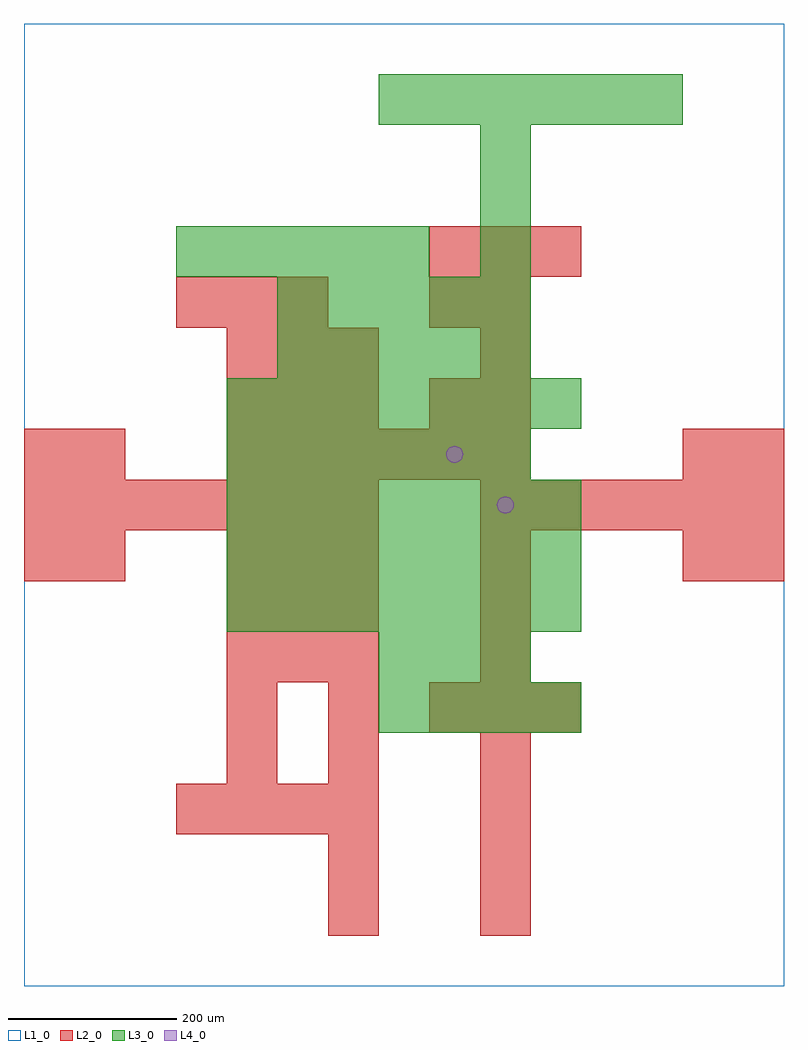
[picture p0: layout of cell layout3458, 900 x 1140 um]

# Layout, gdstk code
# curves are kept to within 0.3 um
import gdstk
lib = gdstk.Library(unit=1e-6, precision=1e-09)
def R(c, l, rs):  # rectangles x0, y0, x1, y1
    for r in rs: c.add(gdstk.rectangle(r[:2], r[2:], *l))
def A(c, l, x, y, w, h, nx, ny, dx, dy):  # array of equal rectangles
    R(c, l, [(x+i*dx, y+j*dy, x+i*dx+w, y+j*dy+h) for i in range(nx) for j in range(ny)])
def P(c, l, *ps):  # polygons
    for p in ps: c.add(gdstk.Polygon(p, *l))
L1_0 = (1, 0)
L2_0 = (2, 0)
L3_0 = (3, 0)
L4_0 = (4, 0)

layout3458 = lib.new_cell('layout3458')
R(layout3458, L1_0, [(0,0,900,1140)])
A(layout3458, L2_0, 540, 60, 60, 60, 1, 8, 0, 60)
A(layout3458, L2_0, 180, 180, 60, 60, 4, 1, 60, 0)
A(layout3458, L2_0, 240, 300, 60, 60, 3, 1, 120, 0)
A(layout3458, L2_0, 240, 360, 60, 60, 3, 3, 60, 60)
A(layout3458, L2_0, 0, 540, 60, 60, 7, 1, 60, 0)
A(layout3458, L2_0, 540, 540, 60, 60, 6, 1, 60, 0)
A(layout3458, L2_0, 240, 600, 60, 60, 6, 1, 60, 0)
A(layout3458, L2_0, 240, 660, 60, 60, 3, 2, 60, 60)
A(layout3458, L2_0, 540, 660, 60, 60, 1, 3, 0, 60)
A(layout3458, L2_0, 180, 780, 60, 60, 3, 1, 60, 0)
A(layout3458, L2_0, 480, 840, 60, 60, 3, 1, 60, 0)
R(layout3458, L2_0, [(360,60,420,120), (360,120,420,180), (240,240,300,300), (360,240,420,300), (600,300,660,360), (0,480,60,540), (60,480,120,540), (780,480,840,540), (840,480,900,540), (0,600,60,660), (60,600,120,660), (780,600,840,660), (840,600,900,660), (480,660,540,720), (480,780,540,840)])
A(layout3458, L3_0, 420, 300, 60, 60, 4, 1, 60, 0)
A(layout3458, L3_0, 420, 360, 60, 60, 3, 1, 60, 0)
A(layout3458, L3_0, 240, 420, 60, 60, 7, 3, 60, 60)
A(layout3458, L3_0, 240, 600, 60, 60, 6, 1, 60, 0)
A(layout3458, L3_0, 240, 660, 60, 60, 7, 1, 60, 0)
A(layout3458, L3_0, 300, 720, 60, 60, 5, 2, 60, 60)
A(layout3458, L3_0, 180, 840, 60, 60, 5, 1, 60, 0)
A(layout3458, L3_0, 540, 840, 60, 60, 1, 3, 0, 60)
A(layout3458, L3_0, 420, 1020, 60, 60, 6, 1, 60, 0)
P(layout3458, L4_0, [(520,630),(519.239,633.827),(517.071,637.071),(513.827,639.239),(510,640),(506.173,639.239),(502.929,637.071),(500.761,633.827),(500,630),(500.761,626.173),(502.929,622.929),(506.173,620.761),(510,620),(513.827,620.761),(517.071,622.929),(519.239,626.173)],
  [(580,570),(579.239,573.827),(577.071,577.071),(573.827,579.239),(570,580),(566.173,579.239),(562.929,577.071),(560.761,573.827),(560,570),(560.761,566.173),(562.929,562.929),(566.173,560.761),(570,560),(573.827,560.761),(577.071,562.929),(579.239,566.173)])

lib.write_gds('layout3458.gds')
